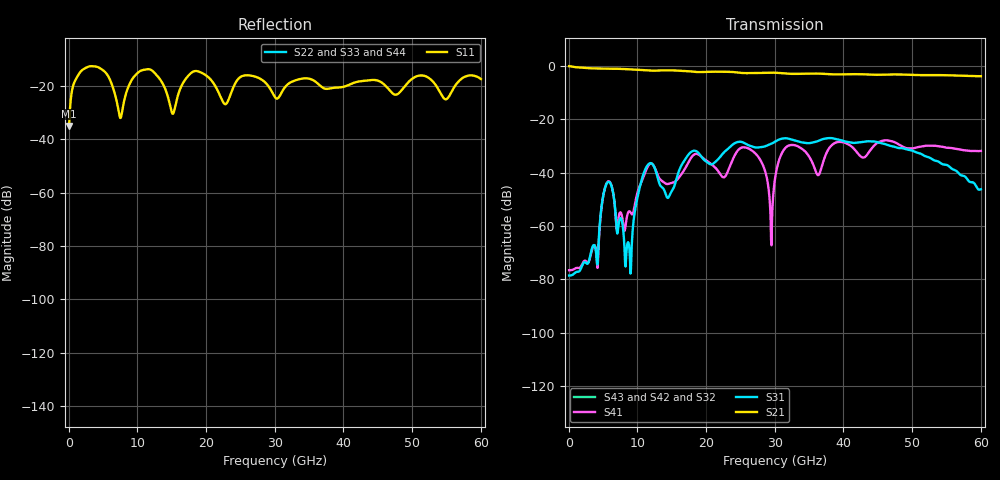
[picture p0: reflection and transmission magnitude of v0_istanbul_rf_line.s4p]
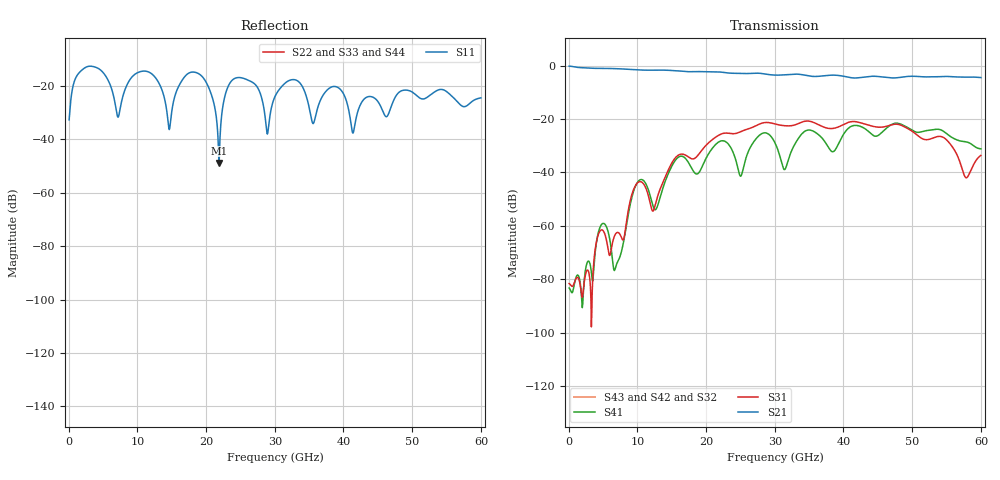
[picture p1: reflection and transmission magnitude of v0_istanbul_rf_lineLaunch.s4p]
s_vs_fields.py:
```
"""Review questions on the Istanbul crosstalk deck: V(z), EE and EO crosstalk from the S-parameters vs from the fields.

S-parameter route (uniform coupled pair assumed): even/odd 2-ports S_e,o = S(i,j) +- S(i,j') of the 4-port; per mode
ABCD -> cosh(gamma L) = (A+D)/2, Zc = sqrt(B/C). V_A = V_e + V_o, V_B = V_e - V_o, each mode a uniform line with 50 ohm
source (a = 1/2 per mode) and load: V(z) = V(0) cosh(gamma z) - Zc I(0) sinh(gamma z).
Field route: line voltage = mean of the two gap voltages from E_y (mzm_interconnect.xtalk_fields, 50 ohm, as the deck).
Both V(z) normalised to V_A at the far end (a real port in every run).
EE crosstalk with all ports matched: V_port = b sqrt(Z0) where no wave is incident, so
  NEXT = S31 = S21 * V_B(near)/V_A(far),  FEXT = S41 = S21 * V_B(far)/V_A(far)   (field route: |S21| only as scale).
EO crosstalk: X = H[V_B]/H[V_A], H[V] = (1/L) int V(z) exp(j beta_o (z-L)) dz (symmetric gaps, push-pull).
Runs: a = bare pair, c = + input launch pads, d = + driver carrier and bond wires (|S| only: no S-route V(z))."""
import os, sys, re
HERE = os.path.dirname(os.path.abspath(__file__)); X = os.path.join(HERE, "..")
sys.path.insert(0, os.path.join(X, "istanbul_run_a")); sys.path.insert(0, os.path.abspath(os.path.join(X, "../../..")))
import numpy as np, skrf as rf
from mzm_interconnect import parameters as P, xtalk_fields as XF
from mzm_interconnect.physics import C0
from load_fields import load
p = P.defaults(); p["Rt_R"] = 50.0; p["Zs_R"] = 50.0; R0 = 50.0; NG = 2.27
LA = "e-field (f=1) [1]_lineA.zip"; BAD = (2.0, 15.0)
RUN = {"a": dict(fd=lambda: load(skip_f=BAD), s4p=os.path.join(X, "istanbul_run_a", "v0_istanbul_rf_line.s4p")),
       "c": dict(fd=lambda: load(base=os.path.join(X, "istanbul_run_c"), a_zip=LA, drop="first", skip_f=BAD),
                 s4p=os.path.join(X, "istanbul_run_c", "v0_istanbul_rf_lineLaunch.s4p")),
       "d": dict(fd=lambda: load(base=os.path.join(X, "istanbul_run_d"), a_zip=LA, drop="first", skip_f=BAD), s4p=None)}

def s2abcd(S):
    s11, s12, s21, s22 = S[:, 0, 0], S[:, 0, 1], S[:, 1, 0], S[:, 1, 1]
    A = ((1+s11)*(1-s22)+s12*s21)/(2*s21); B = R0*((1+s11)*(1+s22)-s12*s21)/(2*s21)
    C = ((1-s11)*(1-s22)-s12*s21)/(2*s21)/R0; D = ((1-s11)*(1+s22)+s12*s21)/(2*s21)
    return A, B, C, D

def full_from_col1(c):
    """Only port 1 is excited in the runs: the uniform-pair assumption (A <-> B mirror, end reversal, reciprocity) fills
    the 4-port from column 1: S11 = S22 = S33 = S44, S21 = S43, S31 = S42, S41 = S32."""
    s11, s21, s31, s41 = c[:, 0], c[:, 1], c[:, 2], c[:, 3]
    return np.stack([np.stack(r, -1) for r in ((s11, s21, s31, s41), (s21, s11, s41, s31), (s31, s41, s11, s21), (s41, s31, s21, s11))], -2)

def modal_line(S, L):
    """gamma, Zc of the even and odd mode of a symmetric 4-port (1 A near, 2 A far, 3 B near, 4 B far)."""
    S = full_from_col1(S[:, :, 0]); out = {}
    for m, sg in (("e", 1), ("o", -1)):
        M = np.empty((len(S), 2, 2), complex)
        for i, (a, a2) in enumerate(((0, 2), (1, 3))):
            for j, (b, b2) in enumerate(((0, 2), (1, 3))):
                M[:, i, j] = S[:, a, b] + sg*S[:, a, b2]
        A, B, C, D = s2abcd(M); ch = (A+D)/2
        r = np.sqrt(ch*ch-1+0j); y = ch-r; y = np.where(abs(y) > 1, ch+r, y)     # y = exp(-gamma L)
        gL = -np.log(abs(y)) - 1j*np.unwrap(np.angle(y))
        Z = np.sqrt(B/C); Z = np.where(Z.real < 0, -Z, Z)
        out[m] = (gL/L, Z)
    return out

def v_model(g, Z, z):
    """Voltage along a uniform line, 50 ohm source with incident wave 1/2 (per mode), 50 ohm load."""
    gl = g*z[-1]; Zin = Z*(R0*np.cosh(gl)+Z*np.sinh(gl))/(Z*np.cosh(gl)+R0*np.sinh(gl))
    V0 = 0.5*np.sqrt(R0)*2*Zin/(Zin+R0); I0 = V0/Zin
    return V0*np.cosh(g*z) - Z*I0*np.sinh(g*z)

def forward_amp(V, z, f):
    """Amplitude at z = 0 of the forward wave of a line voltage: two-wave fit V = V+ e^{-gz} + V- e^{gz} over the whole
    line, n (2.0-2.6, step 0.002) and alpha (0-40 Np/m) scanned. Returns V+(0) and the relative residual."""
    b0 = 2*np.pi*f*1e9/C0; best = (np.inf, 0)
    for n in np.arange(2.0, 2.6, 0.002):
        for a in (0, 5, 10, 20, 40):
            g = a + 1j*b0*n; A = np.stack([np.exp(-g*z), np.exp(g*z)], 1); c, *_ = np.linalg.lstsq(A, V, rcond=None)
            r = np.linalg.norm(V - A @ c)/np.linalg.norm(V)
            if r < best[0]: best = (r, c[0])
    return best[1], best[0]

def H(V, z, f):
    return np.trapezoid(V*np.exp(1j*2*np.pi*f*1e9*NG/C0*(z-z[-1])), z)/(z[-1]-z[0])

def analyse(r):
    fd = RUN[r]["fd"](); Xf = XF.eo_crosstalk_fields(p, fd); f = Xf["f_GHz"]; z = fd["z"] - fd["z"][0]; L = z[-1]
    Vf = {k: np.array([(Xf["V"][q][k][0]+Xf["V"][q][k][1])/2 for q in f]) for k in "AB"}
    # cell loading (pitch 0.2 mm): the E_y sample drops by 20-40 % on 2 of the 40 points of each cell. Those points are
    # found from line A (mean over f of |V| against its running median) and replaced by interpolation, on both lines.
    Vraw = {k: v.copy() for k, v in Vf.items()}
    a = np.mean(abs(Vf["A"]), 0); med = np.array([np.median(a[max(0, j-20):j+21]) for j in range(len(a))])
    bad = a < 0.9*med; good = ~bad
    for k in "AB":
        Vf[k] = np.array([np.interp(z, z[good], v.real[good])+1j*np.interp(z, z[good], v.imag[good]) for v in Vf[k]])
    end = lambda v, sl, z0: np.polyval(np.polyfit(z[sl]-z0, v[sl], 2), 0)      # quadratic fit over the end 0.3 mm
    n3 = int(round(0.3e-3/(z[1]-z[0])))
    Vend = {k: (np.array([end(v, slice(0, n3), 0) for v in Vf[k]]), np.array([end(v, slice(-n3, None), L) for v in Vf[k]])) for k in "AB"}
    nA = Vend["A"][1][:, None]
    out = dict(f=f, z=z, L=L, Vf_A=Vf["A"]/nA, Vf_B=Vf["B"]/nA, EO_f=Xf["X"], bad=bad)
    if RUN[r]["s4p"]:
        n = rf.Network(RUN[r]["s4p"]); fi = lambda s: np.interp(f*1e9, n.f, s.real)+1j*np.interp(f*1e9, n.f, s.imag)
        ml = modal_line(n.s, L); g = {m: fi(ml[m][0]) for m in "eo"}; Zc = {m: fi(ml[m][1]) for m in "eo"}
        VA, VB = [], []
        for i in range(len(f)):
            ve, vo = v_model(g["e"][i], Zc["e"][i], z), v_model(g["o"][i], Zc["o"][i], z)
            VA.append(ve+vo); VB.append(ve-vo)
        VA, VB = np.array(VA), np.array(VB)
        out.update(Vs_A=VA/VA[:, -1:], Vs_B=VB/VA[:, -1:], EO_s=np.array([H(VB[i], z, q)/H(VA[i], z, q) for i, q in enumerate(f)]),
                   S21=fi(n.s[:, 1, 0]), S31=fi(n.s[:, 2, 0]), S41=fi(n.s[:, 3, 0]), ne=g["e"].imag*C0/(2*np.pi*f*1e9),
                   no=g["o"].imag*C0/(2*np.pi*f*1e9), Ze=Zc["e"], Zo=Zc["o"])
    else:   # run d: CST ASCII magnitudes (dB) of S11, S21, S41, S51
        Sd, key = {}, None
        for ln in open(os.path.join(X, "istanbul_run_d", "v0_istanbul_rf_module_allS.txt")):
            m = re.search(r'"(S\d,\d) \[Magnitude / dB\]"', ln)
            if m: key = m.group(1); Sd[key] = []; continue
            if ln.startswith("#") or not ln.strip(): continue
            Sd[key].append([float(v) for v in ln.split()])
        g = lambda k: 10**(np.interp(f, *np.array(Sd[k]).T)/20)
        out.update(S21=g("S2,1"), S31=g("S5,1"), S41=g("S4,1"))
    # fields only: victim at the line ends (first and last sample) over the aggressor forward wave entering the line
    VAp = np.array([forward_amp(Vf["A"][i], z, q)[0] for i, q in enumerate(f)])
    out["NEXT_p"] = abs(Vraw["B"][:, 0]/VAp); out["FEXT_p"] = abs(Vraw["B"][:, -1]/VAp)
    s21 = abs(out["S21"])
    out["NEXT_f"] = s21*abs(Vend["B"][0]/Vend["A"][1]); out["FEXT_f"] = s21*abs(Vend["B"][1]/Vend["A"][1])
    return out

if __name__ == "__main__":
    dB = lambda x: 20*np.log10(abs(x)); R = {r: analyse(r) for r in "acd"}
    np.savez(os.path.join(HERE, "s_vs_fields.npz"), **{f"{r}_{k}": v for r, d in R.items() for k, v in d.items()})
    m = R["a"]["f"] >= 5
    for r in "acd":
        d = R[r]; print(f"--- run {r}")
        for lab, s, fl in (("NEXT", d["S31"], d["NEXT_f"]), ("FEXT", d["S41"], d["FEXT_f"])):
            e = dB(fl)-dB(s); print(f"{lab}: field - S median {np.median(e[m]):+.1f} dB, 5-95% {np.percentile(e[m],5):+.1f}..{np.percentile(e[m],95):+.1f}")
        if "EO_s" in d:
            e = dB(d["EO_s"])-dB(d["EO_f"]); print(f"EO: S-route - field median {np.median(e[m]):+.1f}, 5-95% {np.percentile(e[m],5):+.1f}..{np.percentile(e[m],95):+.1f};"
                  f" medians S {np.median(dB(d['EO_s'][m])):.1f}, field {np.median(dB(d['EO_f'][m])):.1f}")
            for q in (10, 20, 40):
                i = np.argmin(abs(d["f"]-q)); ea = np.sqrt(np.mean(abs(d["Vs_A"][i]-d["Vf_A"][i])**2)); eb = np.sqrt(np.mean(abs(d["Vs_B"][i]-d["Vf_B"][i])**2))/np.sqrt(np.mean(abs(d["Vf_B"][i])**2))
                print(f"  {q} GHz: n_e {d['ne'][i]:.3f} n_o {d['no'][i]:.3f} Z_e {d['Ze'][i].real:.1f} Z_o {d['Zo'][i].real:.1f}; V_A rms err {ea:.3f}, V_B rel rms err {eb:.2f}")
```
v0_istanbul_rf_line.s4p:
! TOUCHSTONE file generated by CST MICROWAVE STUDIO
! Date and time: Thu Nov  5 15:45:10 2026
! Project name: v0_istanbul_rf_line.cst
! Parameters = {LN_THICKNESS=0.000275; SILICON_THICKNESS=0.55}
! Header version: 2024
! Port assignment regex: !\s*Touchstone port\s*([0-9]+)\s*=\s*(CST MWS port|CST DES external port|CST DES block port)\s*(.+)\s* \(\"(.*)\"\)(\s*mode\s*([0-9]+))?.*
! Touchstone port assignment:
! Touchstone port 1 = CST MWS port 1 ("")
! Touchstone port 2 = CST MWS port 2 ("")
! Touchstone port 3 = CST MWS port 3 ("")
! Touchstone port 4 = CST MWS port 4 ("")
# GHz S MA R 50
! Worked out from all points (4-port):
!   1000 points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, 60 MHz to 60 GHz, reference 50 ohm
!   strongest paths, dB at 60 MHz, 15.06 GHz, 30.06 GHz, 45.06 GHz, 60 GHz:
!     S21: -0.1, -1.7, -2.6, -3.4, -3.9
!     S31: -78.5, -46.7, -28.4, -28.7, -46.2
!     S41: -76.5, -43.8, -41.8, -28.6, -31.9
!     S43: -, -, -, -, -
!     S42: -, -, -, -, -
!     S32: -, -, -, -, -
!   lowest |S11| = -35.0 dB at 60 MHz (marker M1), VSWR 1.04, Z = 51.4 + j1.06 ohm
!   |S11| at or under -10 dB: start of sweep to end of sweep
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0.06  0.01769 35.6  0 0.0  0 0.0  0 0.0
      0.9858 -1.8  0 0.0  0 0.0  0 0.0
      0.0001184 158.7  0 0.0  0 0.0  0 0.0
      0.0001491 -20.8  0 0.0  0 0.0  0 0.0
18.18  0.1852 0.8  0 0.0  0 0.0  0 0.0
       0.7761 -71.4  0 0.0  0 0.0  0 0.0
       0.02569 -168.8  0 0.0  0 0.0  0 0.0
       0.02146 2.2  0 0.0  0 0.0  0 0.0
60  0.1334 -44.2  0 0.0  0 0.0  0 0.0
    0.6401 35.9  0 0.0  0 0.0  0 0.0
    0.004881 131.0  0 0.0  0 0.0  0 0.0
    0.02552 -43.7  0 0.0  0 0.0  0 0.0
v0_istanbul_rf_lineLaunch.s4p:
! TOUCHSTONE file generated by CST MICROWAVE STUDIO
! Date and time: Fri Nov  6 09:24:55 2026
! Project name: v0_istanbul_rf_line+Launch.cst
! Parameters = {LN_THICKNESS=0.000275; SILICON_THICKNESS=0.55}
! Header version: 2024
! Port assignment regex: !\s*Touchstone port\s*([0-9]+)\s*=\s*(CST MWS port|CST DES external port|CST DES block port)\s*(.+)\s* \(\"(.*)\"\)(\s*mode\s*([0-9]+))?.*
! Touchstone port assignment:
! Touchstone port 1 = CST MWS port 1 ("")
! Touchstone port 2 = CST MWS port 2 ("")
! Touchstone port 3 = CST MWS port 3 ("")
! Touchstone port 4 = CST MWS port 4 ("")
# GHz S MA R 50
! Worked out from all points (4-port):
!   1000 points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, 60 MHz to 60 GHz, reference 50 ohm
!   strongest paths, dB at 60 MHz, 15.06 GHz, 30.06 GHz, 45.06 GHz, 60 GHz:
!     S21: -0.2, -1.8, -3.5, -4.1, -4.5
!     S31: -81.6, -36.2, -21.8, -23.0, -33.6
!     S41: -83.3, -37.4, -29.1, -26.1, -31.1
!     S43: -, -, -, -, -
!     S42: -, -, -, -, -
!     S32: -, -, -, -, -
!   lowest |S11| = -48.9 dB at 21.9 GHz (marker M1), VSWR 1.01, Z = 50.4 - j0.0262 ohm
!   |S11| at or under -10 dB: start of sweep to end of sweep
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0.06  0.02318 22.9  0 0.0  0 0.0  0 0.0
      0.9788 -1.8  0 0.0  0 0.0  0 0.0
      8.324e-05 -13.0  0 0.0  0 0.0  0 0.0
      6.878e-05 -13.1  0 0.0  0 0.0  0 0.0
21.9  0.003596 -4.1  0 0.0  0 0.0  0 0.0
      0.7623 164.4  0 0.0  0 0.0  0 0.0
      0.05037 13.4  0 0.0  0 0.0  0 0.0
      0.03768 -70.9  0 0.0  0 0.0  0 0.0
60  0.05962 61.5  0 0.0  0 0.0  0 0.0
    0.5989 -63.0  0 0.0  0 0.0  0 0.0
    0.0209 -136.5  0 0.0  0 0.0  0 0.0
    0.02773 -162.2  0 0.0  0 0.0  0 0.0
